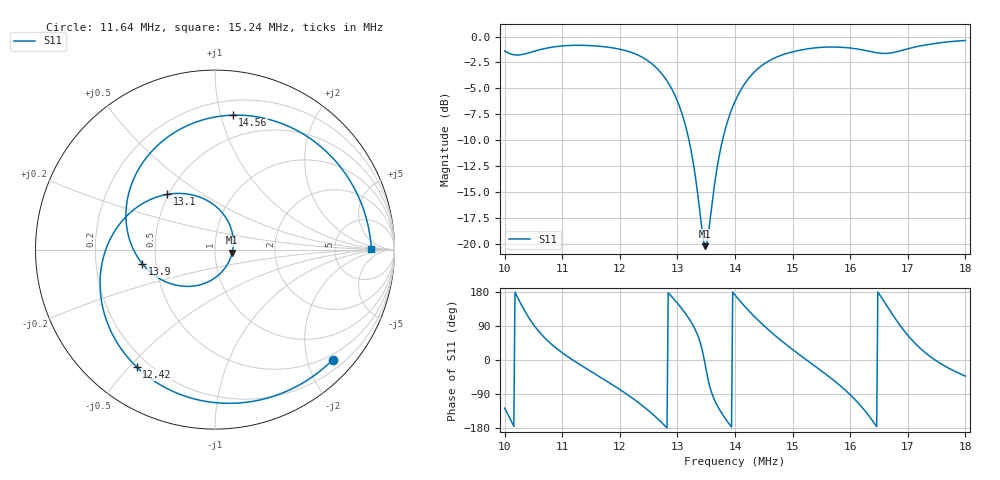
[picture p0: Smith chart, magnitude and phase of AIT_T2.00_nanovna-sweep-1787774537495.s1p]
! NanoVNA Web complex sweep
! Processing: original sample grid, no browser smoothing
# Hz S RI R 50
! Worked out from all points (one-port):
!   401 points, 10 MHz to 18 MHz, reference 50 ohm
!   lowest |S11| = -20.3 dB at 13.48 MHz (marker M1), VSWR 1.22, Z = 60.5 - j2.2 ohm
!   |S11| at or under -10 dB: 13.2 MHz to 13.78 MHz (583.2 kHz wide, 4.32 % of centre)
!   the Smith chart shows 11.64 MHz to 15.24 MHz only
!   S11 on the Smith chart (normalised r, x): 11.64 MHz: 0.39, -2.48; 12.42 MHz: 0.15, -0.52; 13.1 MHz: 0.49, +0.36; 13.9 MHz: 0.42, -0.08; 14.56 MHz: 0.31, +1.09; 15.24 MHz: 14, +0
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1e7  -0.5143 -0.6784
1.022e7  -0.7922 0.1895
1.046e7  -0.1799 0.8216
1.072e7  0.5065 0.7176
1.1e7  0.8521 0.2955
1.13e7  0.8901 -0.1793
1.164e7  0.6554 -0.6144
1.2e7  0.1851 -0.8494
1.242e7  -0.4371 -0.6532
1.272e7  -0.6404 -0.1833
1.3e7  -0.4227 0.2444
1.31e7  -0.2657 0.3078
1.348e7  0.0954 -0.018
1.37e7  -0.1304 -0.2043
1.39e7  -0.4045 -0.0794
1.4e7  -0.4807 0.0713
1.424e7  -0.4032 0.4839
1.456e7  0.0983 0.7489
1.5e7  0.7483 0.39
1.524e7  0.8708 0.00361
1.56e7  0.6802 -0.5745
1.6e7  -0.0236 -0.8813
1.624e7  -0.5649 -0.6485
1.65e7  -0.8296 0.0729
1.676e7  -0.3445 0.7649
1.7e7  0.3665 0.7928
1.74e7  0.9115 0.1267
1.8e7  0.7065 -0.6473
